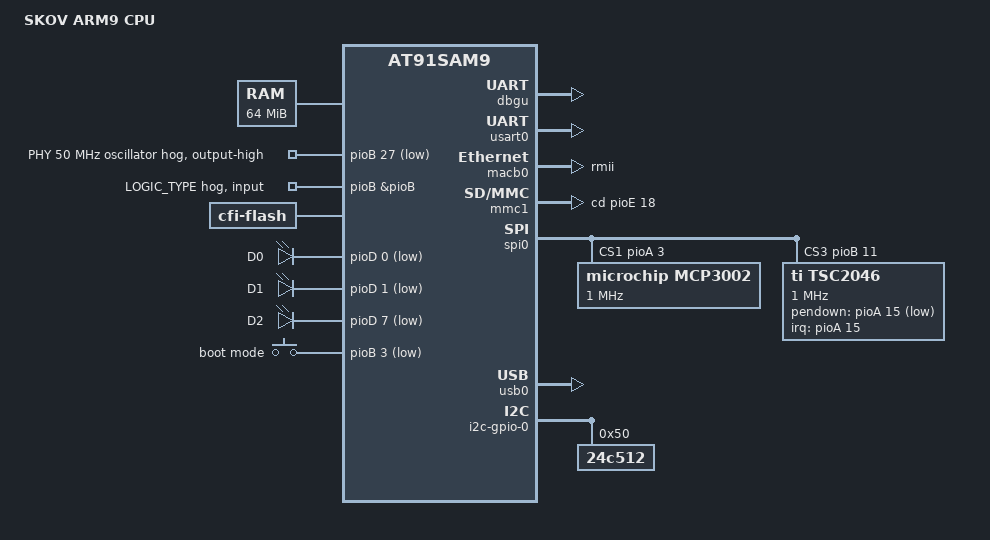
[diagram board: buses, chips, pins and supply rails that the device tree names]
/*
 * Device Tree file for SKOV ARM9 CPU board with 128 MB RAM and Logic Technology Display
 *
 *  Copyright (C) 2018 Sam Ravnborg <sam@ravnborg.org>
 *
 * Licensed under GPLv2 only
 */
/dts-v1/;
#include "arm/at91sam9263.dtsi"

/ {
	model = "SKOV ARM9 CPU";
	compatible = "skov,arm9-cpu", "atmel,at91sam9263", "atmel,at91sam9";

	chosen {
		bootargs = "mem=64M root=/dev/mtdblock5 rw rootfstype=ubifs";
		stdout-path = "serial0:115200n8";

		environment@0 {
			compatible = "barebox,environment";
			device-path = &flash, "partname:bareboxenv";
		};
	};

	memory {
		reg = <0x20000000 0x4000000>;
	};

	clocks {
		slow_xtal {
			clock-frequency = <32768>;
		};

		main_xtal {
			clock-frequency = <16000000>;
		};
	};

	ahb {
		apb {
			dbgu: serial@ffffee00 {
				status = "okay";
			};

			usart0: serial@fff8c000 {
				pinctrl-0 = <
					&pinctrl_usart0
					&pinctrl_usart0_rts
					&pinctrl_usart0_cts>;
				status = "okay";
			};

			macb0: ethernet@fffbc000 {
				phy-mode = "rmii";
				status = "okay";
/*			
				ethernet-phy@0 {
					reg = <0x1>;
					interrupt-parent = <&pioE>;
					interrupts = <31 IRQ_TYPE_LEVEL_LOW>;
				};
*/
			};

			mmc1: mmc@fff84000 {
				pinctrl-0 = <
					&pinctrl_board_mmc1
					&pinctrl_mmc1_clk
					&pinctrl_mmc1_slot0_cmd_dat0
					&pinctrl_mmc1_slot0_dat1_3>;
				cd-gpios = <&pioE 18 GPIO_ACTIVE_HIGH>;
				status = "okay";
				slot@0 {
					reg = <0>;
					bus-width = <4>;
					cd-gpios = <&pioE 18 GPIO_ACTIVE_HIGH>;
					wp-gpios = <&pioE 19 GPIO_ACTIVE_HIGH>;
				};
			};

			pinctrl@fffff200 {
				mmc1 {
					pinctrl_board_mmc1: mmc1-board {
						atmel,pins =
							<AT91_PIOE 18 AT91_PERIPH_GPIO AT91_PINCTRL_PULL_UP_DEGLITCH 	/* PE18 gpio CD pin pull up and deglitch */
							 AT91_PIOE 19 AT91_PERIPH_GPIO AT91_PINCTRL_PULL_UP>;	/* PE19 gpio WP pin pull up */
					};
				};

				inputs {
					pinctrl_disp_type: disp_type-0 {
						atmel,pins =
							<AT91_PIOD 2 AT91_PERIPH_A AT91_PINCTRL_PULL_UP>;    	      	/* PD2 gpio DISP_TYPE (Seiko or Logic) */
					};
					pinctrl_logic_type: logic_type-0 {
						atmel,pins =
							<AT91_PIOB 8 AT91_PERIPH_A AT91_PINCTRL_PULL_UP>;                /* PB8 gpio LOGIC_TYPE (l2 or l6) */
					};
				};
				/* clk appear not to be ready at first probe.
				 * so this hangs barebox if enabled
				 * pioD: gpio@fffff800 {
				 *	DISP_TYPE {
				 *		gpio-hog;
				 *		input;
				 *		gpios = <&pioD 2>;
				 *		line-name = "DISP_TYPE";
				 *	};
				 * };
				 *
				 */

				pioB: gpio@fffff400 {
					/* Enable the 50MHz oscillator for Ethernet PHY */
					phy_50mhz {
						gpio-hog;
						gpios = <27 GPIO_ACTIVE_LOW>;
						output-high;
						line-name = "PHY 50 MHz oscillator";
					};

					LOGIC_TYPE {
						gpio-hog;
						input;
						gpios = <&pioB 8>;
						line-name = "LOGIC_TYPE";
					};
				};
				fb {
					pinctrl_board_fb: fb-0 {
						atmel,pins =
						       <AT91_PIOC 0  AT91_PERIPH_A AT91_PINCTRL_NONE    /* LCDVSYNC */
							AT91_PIOC 1  AT91_PERIPH_A AT91_PINCTRL_NONE    /* LCDHSYNC */
							AT91_PIOC 2  AT91_PERIPH_A AT91_PINCTRL_NONE    /* LCDDOTCK */
							AT91_PIOC 3  AT91_PERIPH_A AT91_PINCTRL_NONE    /* LCDDEN */
							AT91_PIOB 9  AT91_PERIPH_B AT91_PINCTRL_NONE    /* LCDCC */
							AT91_PIOC 6  AT91_PERIPH_A AT91_PINCTRL_NONE    /* LCDD2 */
							AT91_PIOC 7  AT91_PERIPH_A AT91_PINCTRL_NONE    /* LCDD3 */
							AT91_PIOC 8  AT91_PERIPH_A AT91_PINCTRL_NONE    /* LCDD4 */
							AT91_PIOC 9  AT91_PERIPH_A AT91_PINCTRL_NONE    /* LCDD5 */
							AT91_PIOC 10 AT91_PERIPH_A AT91_PINCTRL_NONE    /* LCDD6 */
							AT91_PIOC 11 AT91_PERIPH_A AT91_PINCTRL_NONE    /* LCDD7 */
							AT91_PIOC 14 AT91_PERIPH_A AT91_PINCTRL_NONE    /* LCDD10 */
							AT91_PIOC 15 AT91_PERIPH_A AT91_PINCTRL_NONE    /* LCDD11 */
							AT91_PIOC 16 AT91_PERIPH_A AT91_PINCTRL_NONE    /* LCDD12 */
							AT91_PIOC 12 AT91_PERIPH_B AT91_PINCTRL_NONE    /* LCDD13 */
							AT91_PIOC 18 AT91_PERIPH_A AT91_PINCTRL_NONE    /* LCDD14 */
							AT91_PIOC 19 AT91_PERIPH_A AT91_PINCTRL_NONE    /* LCDD15 */
							AT91_PIOC 22 AT91_PERIPH_A AT91_PINCTRL_NONE    /* LCDD18 */
							AT91_PIOC 23 AT91_PERIPH_A AT91_PINCTRL_NONE    /* LCDD19 */
							AT91_PIOC 24 AT91_PERIPH_A AT91_PINCTRL_NONE    /* LCDD20 */
							AT91_PIOC 17 AT91_PERIPH_B AT91_PINCTRL_NONE    /* LCDD21 */
							AT91_PIOC 26 AT91_PERIPH_A AT91_PINCTRL_NONE    /* LCDD22 */
							AT91_PIOC 27 AT91_PERIPH_A AT91_PINCTRL_NONE>;  /* LCDD23 */
					};
				};
			};

			spi0: spi@fffa4000 {
				status = "okay";
				cs-gpios = <0>, <&pioA 3 0>, <0>, <&pioB 11 0>;

				mcp3002@0 {
					compatible = "microchip,mcp3002";
					reg = <1>;
					spi-max-frequency = <1000000>;
				};

				tsc2046@0 {
					reg = <3>;
					compatible = "ti,tsc2046";
					interrupts-extended = <&pioA 15 IRQ_TYPE_EDGE_BOTH>;
					spi-max-frequency = <1000000>;
					pendown-gpio = <&pioA 15 GPIO_ACTIVE_LOW>;

					ti,x-min = /bits/ 16 <800>;
					ti,x-max = /bits/ 16 <3830>;
					ti,y-min = /bits/ 16 <500>;
					ti,y-max = /bits/ 16 <3830>;
					ti,vref-delay-usecs = /bits/ 16 <300>;
					ti,x-plate-ohms = /bits/ 16 <642>;
					ti,y-plate-ohms = /bits/ 16 <295>;
					ti,pressure-max = /bits/ 16 <1500>;
					ti,debounce-rep = /bits/ 16 <8>;
					ti,debounce-tol = /bits/ 16 <(~0)>;
					ti,debounce-max = /bits/ 16 <100>;

					wakeup-source;
				};
			};

			watchdog@fffffd40 {
				status = "okay";
			};
		};

		fb0: fb@0x00700000 {
			display = <&display0>;
			status = "okay";

			display0: display {
				bits-per-pixel = <16>;
				atmel,lcdcon-backlight;
				atmel,dmacon = <0x1>;
				atmel,lcdcon2 = <0x80008002>;
				atmel,guard-time = <1>;
				atmel,lcd-wiring-mode = "BGR";
				pinctrl-names = "default";
				pinctrl-0 = <&pinctrl_board_fb>;
				atmel,power-control-gpio = <&pioA 30 GPIO_ACTIVE_HIGH>;

				display-timings {
					native-mode = <&l2rt>;
					l2rt: l2rt {
						clock-frequency = <33000000>;
						hactive = <800>;
						vactive = <480>;
						hback-porch = <85>;
						hfront-porch = <112>;
						vback-porch = <29>;
						vfront-porch = <38>;
						hsync-len = <3>;
						vsync-len = <3>;
						pixelclk-active = <1>;
						hsync-active = <0>;
						vsync-active = <0>;
						de-active = <1>;
					};
					l6rt: l6rt {
						clock-frequency = <33000000>;
						hactive = <800>;
						vactive = <480>;
						hback-porch = <43>;
						hfront-porch = <154>;
						vback-porch = <20>;
						vfront-porch = <47>;
						hsync-len = <3>;
						vsync-len = <3>;
						pixelclk-active = <1>;
						hsync-active = <0>;
						vsync-active = <0>;
						de-active = <1>;
					};
					/* TODO - not updated */
					seiko: seiko {
						clock-frequency = <33000000>;
						hactive = <800>;
						vactive = <480>;
						hback-porch = <43>;
						hfront-porch = <154>;
						vback-porch = <20>;
						vfront-porch = <47>;
						hsync-len = <3>;
						vsync-len = <3>;
						pixelclk-active = <1>;
						hsync-active = <0>;
						vsync-active = <0>;
						de-active = <1>;
					};
				};
			};
		};

		usb0: ohci@00a00000 {
			num-ports = <2>;
			status = "okay";
			atmel,vbus-gpio = <&pioA 24 GPIO_ACTIVE_HIGH
					   &pioA 21 GPIO_ACTIVE_HIGH
					  >;
		};

		flash: nor_flash@10000000 {
			compatible = "cfi-flash";
			reg = <0x10000000 0x8000000>;
			linux,mtd-name = "physmap-flash.0";
			bank-width = <2>;
			#address-cells = <1>;
			#size-cells = <1>;

			barebox@0 {
				label = "barebox";
				reg = <0x00000 0x40000>;
			};

			bareboxenv@40000 {
				label = "bareboxenv";
				reg = <0x40000 0x10000>;
			};

			kernel@50000 {
				label = "kernel";
				reg = <0x50000 0x300000>;
			};

			root@350000  {
				label = "root";
				reg = <0x350000 0x4B0000>;
			};
		};

	};

	leds {
		compatible = "gpio-leds";

		D0 {
			label = "D0";
			gpios = <&pioD 0 GPIO_ACTIVE_LOW>;
			linux,default-trigger = "heartbeat";
		};

		D1 {
			label = "D1";
			gpios = <&pioD 1 GPIO_ACTIVE_LOW>;
			linux,default-trigger = "mmc0";
		};

		D2 {
			label = "D2";
			gpios = <&pioD 7 GPIO_ACTIVE_LOW>;
		};
	};

	gpio_keys {
		compatible = "gpio-keys";

		boot_mode_select {
			label = "boot mode";
			gpios = <&pioB 3 GPIO_ACTIVE_LOW>;
			linux,code = <272>;
		};
	};

	inputs {
		compatible = "atmel,at91sam9x5-pinctrl, atmel,at91rm9200-pinctrl", "simple-bus";
		pinctrl-names = "default";
		pinctrl-0 = <
			&pinctrl_disp_type
			&pinctrl_logic_type>;
	};

	i2c-gpio-0 {
		status = "okay";

		24c512@50 {
			compatible = "24c512";
			reg = <0x50>;
			pagesize = <128>;
		};
	};
};
